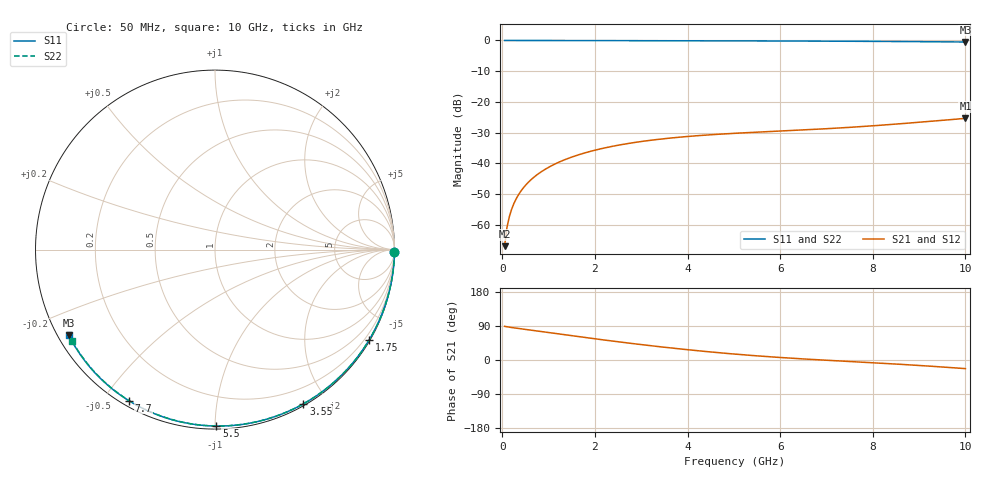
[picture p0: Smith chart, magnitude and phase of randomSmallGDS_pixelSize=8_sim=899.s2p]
! freq	dB(S11)	phase(S11)	dB(S12)	phase(S12)
!  dB(S21)	phase(S21)	dB(S22)	phase(S22)
!S-par simulation data
#  GHz  S  DB  R 50
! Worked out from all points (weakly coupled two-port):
!   200 points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, 50 MHz to 10 GHz, reference 50 ohm
!   highest |S21| = -25.34 dB at 10 GHz (marker M1); lowest = -66.9 dB at 50 MHz (marker M2)
!   lowest |S11| = -0.5 dB at 10 GHz (marker M3), VSWR 34.97, Z = 1.54 - j13.6 ohm
!   |S11| at or under -10 dB: nowhere
!   |S22| runs from -0.5 to 0.0 dB; largest |S21 - S12| = 0
!   S11 on the Smith chart (normalised r, x): 50 MHz: open; 1.75 GHz: 0.03, -3.66; 3.55 GHz: 0.02, -1.73; 5.5 GHz: 0.02, -1.01; 7.7 GHz: 0.02, -0.58; 10 GHz: 0.03, -0.27
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0.05  -0.00 -0.9  -66.91 88.8  -66.91 88.8  -0.00 -0.9
0.1  -0.00 -1.8  -60.92 87.7  -60.92 87.7  -0.00 -1.7
0.15  -0.00 -2.7  -57.43 86.7  -57.43 86.7  -0.00 -2.6
0.2  -0.00 -3.6  -54.96 85.8  -54.96 85.8  -0.00 -3.5
0.25  -0.00 -4.4  -53.06 84.9  -53.06 84.9  -0.00 -4.3
0.35  -0.00 -6.2  -50.18 83.2  -50.18 83.2  -0.00 -6.1
0.5  -0.01 -8.9  -47.13 80.7  -47.13 80.7  -0.01 -8.7
0.7  -0.01 -12.4  -44.26 77.4  -44.26 77.4  -0.01 -12.1
1  -0.02 -17.6  -41.26 72.4  -41.26 72.4  -0.02 -17.2
1.35  -0.03 -23.7  -38.78 66.5  -38.78 66.5  -0.03 -23.1
1.75  -0.04 -30.5  -36.71 60.0  -36.71 60.0  -0.04 -29.8
2.5  -0.06 -43.1  -34.08 48.1  -34.08 48.1  -0.06 -42.2
3.4  -0.08 -57.8  -32.11 35.0  -32.11 35.0  -0.08 -56.5
3.55  -0.08 -60.2  -31.87 33.0  -31.87 33.0  -0.08 -58.9
4.3  -0.10 -71.8  -30.88 23.5  -30.88 23.5  -0.10 -70.3
5.05  -0.13 -83.0  -30.17 15.3  -30.17 15.3  -0.13 -81.4
5.5  -0.15 -89.6  -29.82 10.9  -29.82 10.9  -0.15 -87.8
6.7  -0.21 -106.4  -28.95 1.4  -28.95 1.4  -0.20 -104.4
7.7  -0.27 -119.8  -28.07 -5.3  -28.07 -5.3  -0.27 -117.7
8.35  -0.33 -128.3  -27.38 -9.6  -27.38 -9.6  -0.32 -126.1
9.2  -0.41 -139.3  -26.36 -16.0  -26.36 -16.0  -0.40 -137.0
10  -0.50 -149.6  -25.34 -22.7  -25.34 -22.7  -0.49 -147.3
